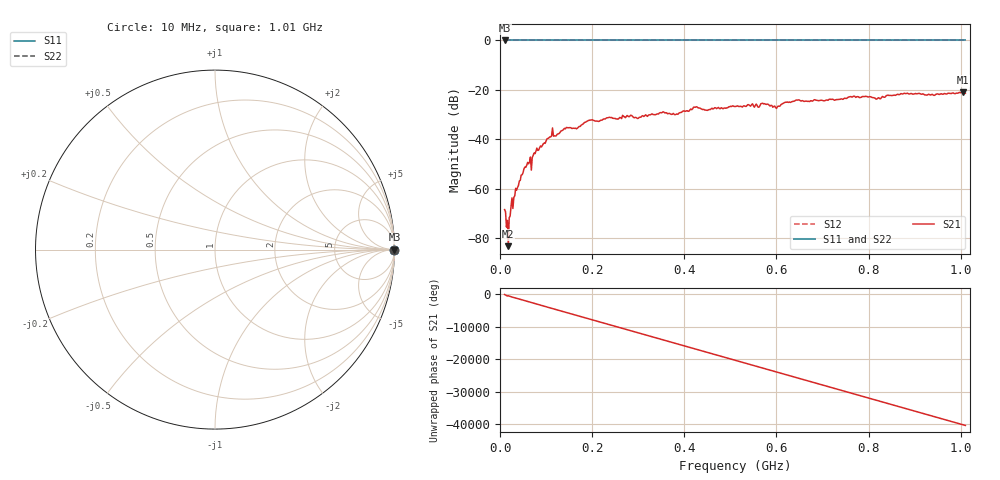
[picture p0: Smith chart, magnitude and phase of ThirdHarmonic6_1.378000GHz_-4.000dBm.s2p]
! 8/16/2025 3:38:26 PM
! C:\ANRITSUVNA\TEMP\TEMP.S2P
! CHANNEL.1
! TR.MEASUREMENT
! RAW.DATA
! RF.CORRECTION.OFF
! AVERAGING.OFF
! IF.BANDWIDTH: 5KHZ
! SWEEPTYPE:  FREQ.SWEEP(Linear)
! Reference Plane Port Info
! PORT:  PORT1  PORT2
! DISTANCE:  0  m  0  m
! TIME:  0  s  0  s
! PHASE.OFFSET:  0  deg.  0  deg.
! LOSS:  0  dB  0  dB
! REF.LOSS:  0  dB  0  dB
! REF.FREQ:  0  Hz  0  Hz
! Power Info
! POWER:  -20  dBm  -20  dBm
! EFF.POWER:  -20  dBm  -20  dBm
! SOURCE.ATTEN:  0  dB  0  dB
! TEST.ATTEN:  0  dB  0  dB
# GHZ S RI R 50.0
! FREQ.GHZ  S11RE  S11IM  S21RE  S21IM  S12RE  S12IM  S22RE  S22IM
!; PortSelection: Port_12
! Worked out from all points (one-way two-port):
!   501 points, 10 MHz to 1.01 GHz, reference 50 ohm
!   highest |S21| = -20.90 dB at 1.004 GHz (marker M1); lowest = -83.2 dB at 18 MHz (marker M2)
!   lowest |S11| = 0.0 dB at 10 MHz (marker M3)
!   |S11| at or under -10 dB: nowhere
!   |S22| runs from 0.0 to 0.0 dB; largest |S21 - S12| = 1.1
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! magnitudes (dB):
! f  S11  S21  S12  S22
! 10 MHz  0.0  -68.4  0.0  0.0
! 18 MHz  0.0  -83.2  0.0  0.0
! 28 MHz  0.0  -67.9  0.0  0.0
! 38 MHz  0.0  -59.4  0.0  0.0
! 56 MHz  0.0  -51.3  0.0  0.0
! 66 MHz  0.0  -47.1  0.0  0.0
! 76 MHz  0.0  -45.8  0.0  0.0
! 110 MHz  0.0  -39.0  0.0  0.0
! 178 MHz  0.0  -34.0  0.0  0.0
! 196 MHz  0.0  -32.2  0.0  0.0
! 344 MHz  0.0  -29.7  0.0  0.0
! 382 MHz  0.0  -29.9  0.0  0.0
! 424 MHz  0.0  -27.0  0.0  0.0
! 448 MHz  0.0  -28.2  0.0  0.0
! 510 MHz  0.0  -26.7  0.0  0.0
! 570 MHz  0.0  -25.4  0.0  0.0
! 602 MHz  0.0  -26.8  0.0  0.0
! 644 MHz  0.0  -24.1  0.0  0.0
! 678 MHz  0.0  -24.5  0.0  0.0
! 844 MHz  0.0  -22.2  0.0  0.0
! 1.004 GHz  0.0  -20.9  0.0  0.0
! 1.01 GHz  0.0  -21.4  0.0  0.0
